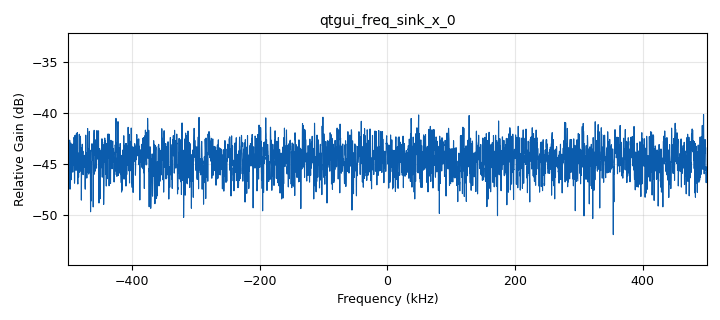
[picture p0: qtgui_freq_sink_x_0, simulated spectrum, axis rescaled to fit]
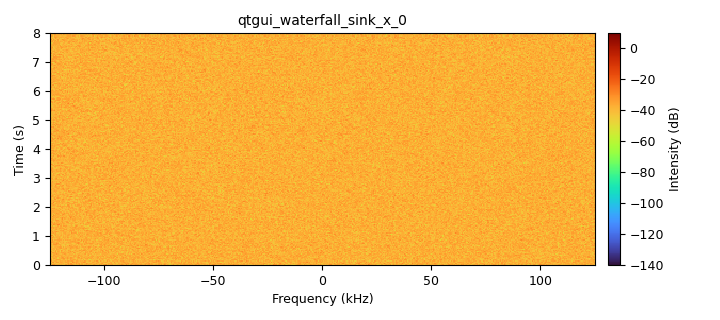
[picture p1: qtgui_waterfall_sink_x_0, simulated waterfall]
options:
  parameters:
    generate_options: qt_gui
    id: MODULATIONDETECTIONTESTV1
    output_language: python
    title: Not titled yet
  states: {}

blocks:
- name: SNR
  id: variable_qtgui_range
  parameters:
    start: '-20'
    step: '1'
    stop: '100'
    value: '40'
  states: {state: disabled}
- name: samp_rate
  id: variable
  parameters:
    value: 250e3
  states: {}
- name: analog_noise_source_x_0_0
  id: analog_noise_source_x
  parameters:
    amp: '1'
    noise_type: analog.GR_GAUSSIAN
    seed: '0'
    type: complex
  states: {}
- name: analog_random_source_x_0
  id: analog_random_source_x
  parameters:
    max: '2'
    min: '0'
    num_samps: '1000'
    repeat: 'True'
    type: byte
  states: {state: disabled}
- name: analog_sig_source_x_0
  id: analog_sig_source_x
  parameters:
    amp: '0.5'
    freq: '1000'
    offset: '0'
    phase: '0'
    samp_rate: samp_rate
    type: complex
    waveform: analog.GR_SIN_WAVE
  states: {state: disabled}
- name: analog_sig_source_x_0_0
  id: analog_sig_source_x
  parameters:
    amp: '1'
    freq: '5000'
    offset: '0'
    phase: '0'
    samp_rate: samp_rate
    type: complex
    waveform: analog.GR_SIN_WAVE
  states: {state: disabled}
- name: blocks_add_const_vxx_0
  id: blocks_add_const_vxx
  parameters:
    const: '1'
    type: complex
  states: {state: disabled}
- name: blocks_char_to_float_0
  id: blocks_char_to_float
  parameters:
    scale: '1'
  states: {state: disabled}
- name: blocks_multiply_xx_0
  id: blocks_multiply_xx
  parameters:
    type: complex
  states: {state: disabled}
- name: blocks_unpack_k_bits_bb_0
  id: blocks_unpack_k_bits_bb
  parameters:
    k: '8'
  states: {state: disabled}
- name: blocks_unpacked_to_packed_xx_0
  id: blocks_unpacked_to_packed_xx
  parameters:
    bits_per_chunk: '1'
    endianness: gr.GR_MSB_FIRST
    type: byte
  states: {state: disabled}
- name: blocks_vector_source_x_0
  id: blocks_vector_source_x
  parameters:
    repeat: 'True'
    type: byte
    vector: (0, 1, 0,1)
  states: {state: disabled}
- name: digital_gfsk_mod_0
  id: digital_gfsk_mod
  parameters:
    bt: '0.35'
    samples_per_symbol: '4'
    sensitivity: '1.0'
  states: {state: disabled}
- name: digital_gmsk_mod_0
  id: digital_gmsk_mod
  parameters:
    bt: '0.35'
    samples_per_symbol: '4'
  states: {state: disabled}
- name: epy_block_0
  id: epy_block
  parameters:
    N: '4096'
    _source_code: |
      """
      Embedded Python Blocks:

      Each time this file is saved, GRC will instantiate the first class it finds
      to get ports and parameters of your block. The arguments to __init__  will
      be the parameters. All of them are required to have default values!
      """

      import numpy as np
      from gnuradio import gr


      class blk(gr.sync_block):  # other base classes are basic_block, decim_block, interp_block
          """Embedded Python Block example - a simple multiply const"""

          def __init__(self, N=4096):  # only default arguments here
              """arguments to this function show up as parameters in GRC"""
              gr.sync_block.__init__(
                  self,
                  name='mean power calculation',   
                  in_sig=[np.complex64],
                  out_sig=[np.float32]
              )
              
              self.N = N
              self.buffer = np.zeros(self.N, dtype=np.complex64)
              self.idx = 0
              self.last_power = 0.0
              
              
          def meanpower(self,x):
          	power=np.mean(np.abs(x)**2)
          	return power   

          def work(self, input_items, output_items):
              in0 = input_items[0]
              out = output_items[0]
              
              for i in range(len(in0)):
              
              	self.buffer[self.idx] = in0[i]
              	self.idx += 1
              	
              	if self.idx >= self.N:
              	
              		self.last_power = self.meanpower(self.buffer)
              		self.idx = 0
              		
              	out[i] = self.last_power
              		
              		
              
              	
              return len(out)
  states: {}
- name: epy_block_1
  id: epy_block
  parameters:
    SNR: '20'
    _source_code: |
      import numpy as np
      from gnuradio import gr

      class blk(gr.sync_block):

          def __init__(self, SNR=-20):

              gr.sync_block.__init__(
                  self,
                  name='SNR noise adder',
                  in_sig=[np.complex64],
                  out_sig=[np.complex64]
              )

              self.snr_db = SNR

          def work(self, input_items, output_items):

              x = input_items[0]
              out = output_items[0]

              # puissance signal
              Ps = np.mean(np.abs(x)**2)

              # normalisation (puissance ≈ 1)
              x_norm = x / (np.sqrt(Ps) + 1e-12)

              # puissance bruit depuis SNR
              Pn = 1.0 / (10 ** (self.snr_db / 10))

              # bruit complexe unité
              noise = (np.random.randn(len(x)) + 1j*np.random.randn(len(x))) / np.sqrt(2)

              # mise à l'échelle bruit
              noise *= np.sqrt(Pn)

              # signal final
              out[:] = x_norm + noise
              
        #      print("SNR target;", self.snr_db)
         #     print("measured SNR;",10*np.log10(Ps/Pn))

              return len(out)
  states: {}
- name: epy_block_2
  id: epy_block
  parameters:
    _source_code: |
      import numpy as np
      import joblib
      from gnuradio import gr
      from scipy.stats import kurtosis
      from scipy.signal import welch
      import warnings
      warnings.filterwarnings("ignore")



      class blk(gr.sync_block):

          def __init__(self):

              gr.sync_block.__init__(
                  self,
                  name="RF Classifier",
                  in_sig=[np.complex64],
                  out_sig=[np.float32]
              )

              # -------------------------
              # LOAD MODEL + SCALER
              # -------------------------
              self.model = joblib.load("/home/mathi/DRONE_DETECTION_PROJECT/1_MODULATION_DETECTION/PYTHON_SCRIPTS/rf_model.pkl")
              self.scaler = joblib.load("/home/mathi/DRONE_DETECTION_PROJECT/1_MODULATION_DETECTION/PYTHON_SCRIPTS/scaler.pkl")

              self.N = 1024
              self.buffer = np.zeros(self.N, dtype=np.complex64)
              self.idx = 0

          # ============================================================
          # FEATURE EXTRACTION
          # ============================================================
          def extract_features(self, iq):

              amp = np.abs(iq)
              phase = np.unwrap(np.angle(iq))
              dphi = np.diff(phase)

              inst_freq = dphi / (2 * np.pi)

              # PSD
              f, psd = welch(iq, fs=48000)
              psd_norm = psd / (np.sum(psd) + 1e-12)

              entropy = -np.sum(psd_norm * np.log2(psd_norm + 1e-12))

              spectral_flatness = (
                  np.exp(np.mean(np.log(psd + 1e-12)))
                  / (np.mean(psd) + 1e-12)
              )

              cyclo = np.abs(np.mean(iq[:-1] * np.conj(iq[1:])))

              features = np.array([
                  np.var(amp),
                  np.mean(dphi),
                  np.var(dphi),
                  np.var(inst_freq),
                  kurtosis(inst_freq),
                  entropy,
                  spectral_flatness,
        #          kurtosis(np.real(iq)),
                  cyclo
              ]).reshape(1, -1)

              return features

          # ============================================================
          # MAIN LOOP
          # ============================================================
          def work(self, input_items, output_items):

              in0 = input_items[0]
              out = output_items[0]

              for i in range(len(in0)):

                  self.buffer[self.idx] = in0[i]
                  self.idx += 1

                  if self.idx >= self.N:

                      # Feature extraction
                      feats = self.extract_features(self.buffer)

                      # Scaling (IMPORTANT)
                      feats = self.scaler.transform(feats)

                      # Prediction
                      pred = self.model.predict(feats)[0]

                      out[i] = float(pred)

                      # Reset buffer
                      self.idx = 0

                  else:
                      out[i] = -1.0

              return len(out)
  states: {}
- name: freq_xlating_fir_filter_xxx_0
  id: freq_xlating_fir_filter_xxx
  parameters:
    center_freq: '0'
    decim: '1'
    samp_rate: samp_rate
    taps: firdes.low_pass(1,2e6,50e3,17e3)
    type: ccc
  states: {state: disabled}
- name: low_pass_filter_0
  id: low_pass_filter
  parameters:
    cutoff_freq: 50e3
    decim: '1'
    gain: '1'
    samp_rate: samp_rate
    type: fir_filter_ccf
    width: 17e3
    win: window.WIN_HAMMING
  states: {state: disabled}
- name: qtgui_freq_sink_x_0
  id: qtgui_freq_sink_x
  parameters:
    average: '0.1'
    bw: 1e6
    fc: '0'
    fftsize: '4096'
    type: complex
    ymin: '-120'
  states: {}
- name: qtgui_number_sink_0
  id: qtgui_number_sink
  parameters:
    graph_type: qtgui.NUM_GRAPH_NONE
    name: '"power mean"'
    type: float
  states: {}
- name: qtgui_number_sink_1
  id: qtgui_number_sink
  parameters:
    graph_type: qtgui.NUM_GRAPH_NONE
    max: '10'
    min: '0'
    name: '"label"'
    type: float
  states: {}
- name: qtgui_time_sink_x_0
  id: qtgui_time_sink_x
  parameters:
    size: '1024'
    srate: samp_rate
    type: float
    ymin: '0'
  states: {state: disabled}
- name: qtgui_waterfall_sink_x_0
  id: qtgui_waterfall_sink_x
  parameters:
    bw: samp_rate
    fc: '0'
    fftsize: '2048'
    type: complex
  states: {}

connections:
- [analog_noise_source_x_0_0, '0', epy_block_0, '0']
- [analog_noise_source_x_0_0, '0', epy_block_1, '0']
- [analog_noise_source_x_0_0, '0', low_pass_filter_0, '0']
- [analog_random_source_x_0, '0', blocks_unpacked_to_packed_xx_0, '0']
- [analog_sig_source_x_0, '0', blocks_add_const_vxx_0, '0']
- [analog_sig_source_x_0_0, '0', blocks_multiply_xx_0, '0']
- [blocks_add_const_vxx_0, '0', blocks_multiply_xx_0, '1']
- [blocks_char_to_float_0, '0', qtgui_time_sink_x_0, '0']
- [blocks_multiply_xx_0, '0', low_pass_filter_0, '0']
- [blocks_unpack_k_bits_bb_0, '0', blocks_char_to_float_0, '0']
- [blocks_unpacked_to_packed_xx_0, '0', blocks_unpack_k_bits_bb_0, '0']
- [blocks_unpacked_to_packed_xx_0, '0', digital_gfsk_mod_0, '0']
- [blocks_unpacked_to_packed_xx_0, '0', digital_gmsk_mod_0, '0']
- [blocks_vector_source_x_0, '0', blocks_unpack_k_bits_bb_0, '0']
- [blocks_vector_source_x_0, '0', digital_gmsk_mod_0, '0']
- [digital_gfsk_mod_0, '0', low_pass_filter_0, '0']
- [digital_gmsk_mod_0, '0', low_pass_filter_0, '0']
- [epy_block_0, '0', qtgui_number_sink_0, '0']
- [epy_block_1, '0', epy_block_2, '0']
- [epy_block_1, '0', qtgui_freq_sink_x_0, '0']
- [epy_block_1, '0', qtgui_waterfall_sink_x_0, '0']
- [epy_block_2, '0', qtgui_number_sink_1, '0']
- [freq_xlating_fir_filter_xxx_0, '0', epy_block_0, '0']
- [freq_xlating_fir_filter_xxx_0, '0', epy_block_1, '0']
- [low_pass_filter_0, '0', freq_xlating_fir_filter_xxx_0, '0']

metadata:
  file_format: 1
  grc_version: 3.10.12.0
